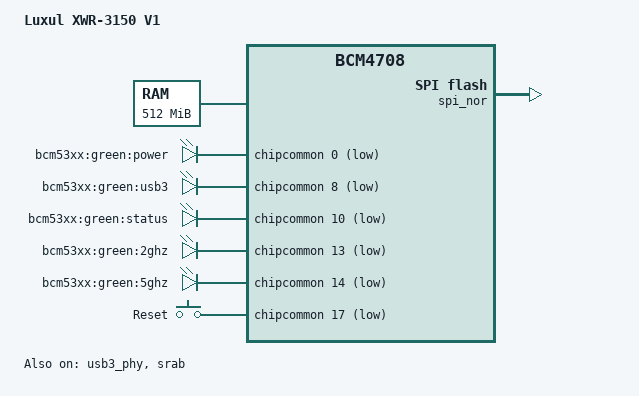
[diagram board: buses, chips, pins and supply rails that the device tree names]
// SPDX-License-Identifier: GPL-2.0-or-later OR MIT
/*
 * Copyright 2018 Luxul Inc.
 */

/dts-v1/;

#include "bcm47094.dtsi"
#include "bcm5301x-nand-cs0-bch8.dtsi"

/ {
	compatible = "luxul,xwr-3150-v1", "brcm,bcm47094", "brcm,bcm4708";
	model = "Luxul XWR-3150 V1";

	chosen {
		bootargs = "earlycon";
	};

	memory@0 {
		device_type = "memory";
		reg = <0x00000000 0x08000000>,
		      <0x88000000 0x18000000>;
	};

	nvram@1eff0000 {
		compatible = "brcm,nvram";
		reg = <0x1eff0000 0x10000>;

		et0macaddr: et0macaddr {
		};
	};

	leds {
		compatible = "gpio-leds";

		power	{
			label = "bcm53xx:green:power";
			gpios = <&chipcommon 0 GPIO_ACTIVE_LOW>;
			linux,default-trigger = "default-on";
		};

		usb3	{
			label = "bcm53xx:green:usb3";
			gpios = <&chipcommon 8 GPIO_ACTIVE_LOW>;
			trigger-sources = <&ohci_port1>, <&ehci_port1>,
					  <&xhci_port1>;
			linux,default-trigger = "usbport";
		};

		status	{
			label = "bcm53xx:green:status";
			gpios = <&chipcommon 10 GPIO_ACTIVE_LOW>;
			linux,default-trigger = "timer";
		};

		2ghz {
			label = "bcm53xx:green:2ghz";
			gpios = <&chipcommon 13 GPIO_ACTIVE_LOW>;
		};

		5ghz {
			label = "bcm53xx:green:5ghz";
			gpios = <&chipcommon 14 GPIO_ACTIVE_LOW>;
		};
	};

	gpio-keys {
		compatible = "gpio-keys";

		button-restart {
			label = "Reset";
			linux,code = <KEY_RESTART>;
			gpios = <&chipcommon 17 GPIO_ACTIVE_LOW>;
		};
	};
};

&gmac0 {
	nvmem-cells = <&et0macaddr>;
	nvmem-cell-names = "mac-address";
};

&usb3 {
	vcc-gpio = <&chipcommon 18 GPIO_ACTIVE_HIGH>;
};

&usb3_phy {
	status = "okay";
};

&spi_nor {
	status = "okay";
};

&srab {
	status = "okay";

	ports {
		port@0 {
			reg = <0>;
			label = "lan4";
		};

		port@1 {
			reg = <1>;
			label = "lan3";
		};

		port@2 {
			reg = <2>;
			label = "lan2";
		};

		port@3 {
			reg = <3>;
			label = "lan1";
		};

		port@4 {
			reg = <4>;
			label = "wan";
		};

		port@5 {
			reg = <5>;
			label = "cpu";
			ethernet = <&gmac0>;
		};
	};
};
